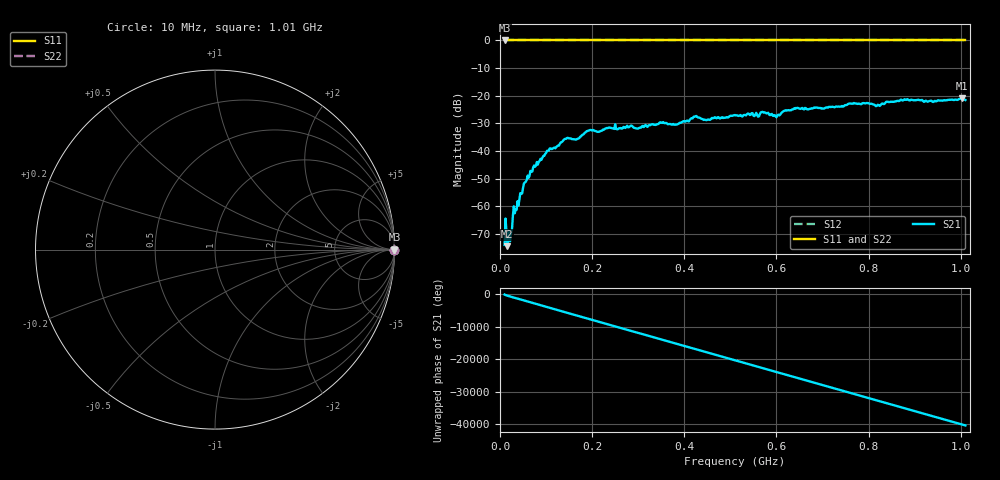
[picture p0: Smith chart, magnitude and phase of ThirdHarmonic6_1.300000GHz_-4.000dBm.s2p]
! 8/16/2025 2:17:26 PM
! C:\ANRITSUVNA\TEMP\TEMP.S2P
! CHANNEL.1
! TR.MEASUREMENT
! RAW.DATA
! RF.CORRECTION.OFF
! AVERAGING.OFF
! IF.BANDWIDTH: 5KHZ
! SWEEPTYPE:  FREQ.SWEEP(Linear)
! Reference Plane Port Info
! PORT:  PORT1  PORT2
! DISTANCE:  0  m  0  m
! TIME:  0  s  0  s
! PHASE.OFFSET:  0  deg.  0  deg.
! LOSS:  0  dB  0  dB
! REF.LOSS:  0  dB  0  dB
! REF.FREQ:  0  Hz  0  Hz
! Power Info
! POWER:  -20  dBm  -20  dBm
! EFF.POWER:  -20  dBm  -20  dBm
! SOURCE.ATTEN:  0  dB  0  dB
! TEST.ATTEN:  0  dB  0  dB
# GHZ S RI R 50.0
! FREQ.GHZ  S11RE  S11IM  S21RE  S21IM  S12RE  S12IM  S22RE  S22IM
!; PortSelection: Port_12
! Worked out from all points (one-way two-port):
!   501 points, 10 MHz to 1.01 GHz, reference 50 ohm
!   highest |S21| = -20.99 dB at 1.002 GHz (marker M1); lowest = -74.5 dB at 16 MHz (marker M2)
!   lowest |S11| = 0.0 dB at 10 MHz (marker M3)
!   |S11| at or under -10 dB: nowhere
!   |S22| runs from 0.0 to 0.0 dB; largest |S21 - S12| = 1.1
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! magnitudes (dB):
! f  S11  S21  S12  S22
! 10 MHz  0.0  -74.0  0.0  0.0
! 16 MHz  0.0  -74.5  0.0  0.0
! 20 MHz  0.0  -70.4  0.0  0.0
! 34 MHz  0.0  -61.1  0.0  0.0
! 56 MHz  0.0  -51.1  0.0  0.0
! 76 MHz  0.0  -45.7  0.0  0.0
! 106 MHz  0.0  -39.8  0.0  0.0
! 142 MHz  0.0  -35.6  0.0  0.0
! 178 MHz  0.0  -34.2  0.0  0.0
! 194 MHz  0.0  -32.5  0.0  0.0
! 344 MHz  0.0  -30.2  0.0  0.0
! 382 MHz  0.0  -30.5  0.0  0.0
! 424 MHz  0.0  -27.5  0.0  0.0
! 452 MHz  0.0  -28.6  0.0  0.0
! 510 MHz  0.0  -27.0  0.0  0.0
! 570 MHz  0.0  -25.8  0.0  0.0
! 596 MHz  0.0  -27.0  0.0  0.0
! 642 MHz  0.0  -24.4  0.0  0.0
! 678 MHz  0.0  -24.6  0.0  0.0
! 844 MHz  0.0  -22.3  0.0  0.0
! 1.002 GHz  0.0  -21.0  0.0  0.0
! 1.01 GHz  0.0  -21.6  0.0  0.0
